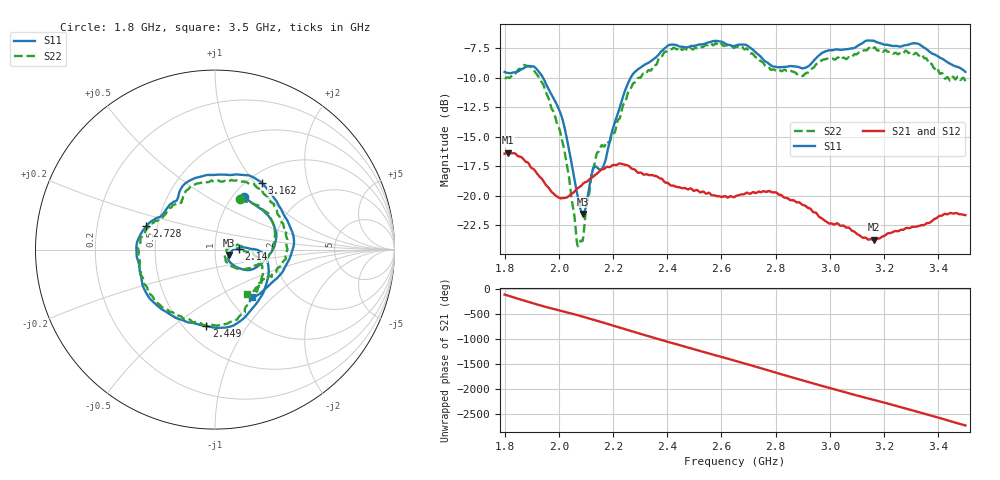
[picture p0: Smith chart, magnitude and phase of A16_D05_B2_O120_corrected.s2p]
! Created with skrf 1.9.0 (http://scikit-rf.org).
# Hz S RI R 50.0
!freq ReS11 ImS11 ReS21 ImS21 ReS12 ImS12 ReS22 ImS22
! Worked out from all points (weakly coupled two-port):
!   1601 points, 1.8 GHz to 3.5 GHz, reference 50 ohm
!   highest |S21| = -16.36 dB at 1.812 GHz (marker M1); lowest = -23.7 dB at 3.162 GHz (marker M2)
!   lowest |S11| = -21.5 dB at 2.09 GHz (marker M3), VSWR 1.18, Z = 58.4 - j3.54 ohm
!   |S11| at or under -10 dB: 1.942 GHz to 2.265 GHz (322.4 MHz wide, 15.3 % of centre)
!   |S22| runs from -24.3 to -7.0 dB; largest |S21 - S12| = 0.0028
!   S11 on the Smith chart (normalised r, x): 1.8 GHz: 1.13, +0.74; 2.14 GHz: 1.30, +0.01; 2.449 GHz: 0.64, -0.67; 2.728 GHz: 0.43, +0.13; 3.162 GHz: 1.16, +1.09; 3.5 GHz: 1.27, -0.75
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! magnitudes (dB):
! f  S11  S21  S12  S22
! 1.8 GHz  -9.5  -16.4  -16.4  -10.0
! 1.812 GHz  -9.6  -16.4  -16.4  -10.0
! 1.881 GHz  -9.0  -17.1  -17.2  -9.0
! 1.942 GHz  -10.0  -18.7  -18.7  -10.6
! 2.013 GHz  -13.4  -20.2  -20.2  -15.4
! 2.068 GHz  -19.8  -19.4  -19.4  -24.1
! 2.084 GHz  -21.4  -19.1  -19.1  -23.8
! 2.09 GHz  -21.5  -19.0  -19.0  -23.5
! 2.124 GHz  -17.9  -18.4  -18.4  -17.8
! 2.14 GHz  -17.6  -18.1  -18.1  -16.4
! 2.167 GHz  -17.4  -17.7  -17.7  -15.8
! 2.265 GHz  -10.0  -17.6  -17.6  -10.9
! 2.367 GHz  -8.0  -18.4  -18.4  -8.4
! 2.449 GHz  -7.3  -19.3  -19.3  -7.5
! 2.65 GHz  -7.3  -20.1  -20.1  -7.4
! 2.728 GHz  -7.9  -19.8  -19.8  -8.3
! 2.798 GHz  -9.0  -19.7  -19.7  -9.3
! 2.934 GHz  -8.7  -21.3  -21.2  -9.2
! 3.162 GHz  -6.8  -23.7  -23.7  -7.5
! 3.217 GHz  -7.2  -23.2  -23.2  -7.8
! 3.325 GHz  -7.1  -22.6  -22.6  -8.0
! 3.5 GHz  -9.5  -21.6  -21.6  -10.3
